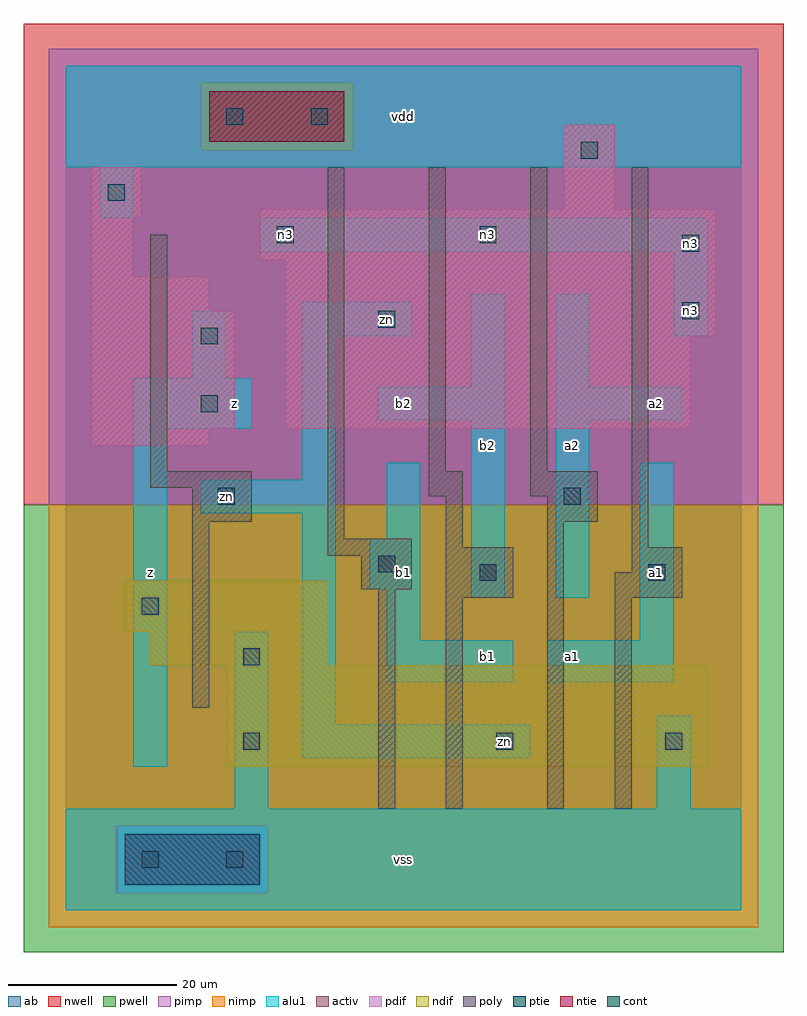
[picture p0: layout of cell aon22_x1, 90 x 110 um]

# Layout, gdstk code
import gdstk
lib = gdstk.Library(unit=1e-6, precision=1e-09)
def R(c, l, rs):  # rectangles x0, y0, x1, y1
    for r in rs: c.add(gdstk.rectangle(r[:2], r[2:], *l))
ndif = (3, 0)
pdif = (4, 0)
ntie = (5, 0)
ptie = (6, 0)
cont = (25, 0)
pwell = (41, 0)
nwell = (42, 0)
activ = (43, 0)
pimp = (44, 0)
nimp = (45, 0)
poly = (46, 0)
alu1 = (49, 0)
ab = (63, 0)

aon22_x1 = lib.new_cell('aon22_x1')
R(aon22_x1, ndif, [(19,17,76,29), (10,29,31,33), (7,33,31,39)])
R(aon22_x1, pdif, [(3,55,17,57), (3,57,20,71), (26,57,74,68), (26,68,77,77), (3,71,17,75), (3,75,8,82), (23,77,77,83), (3,82,9,88), (59,83,65,93)])
R(aon22_x1, ntie, [(17,91,33,97)])
R(aon22_x1, ptie, [(7,3,23,9)])
R(aon22_x1, cont, [(9,5,11,7), (19,5,21,7), (21,19,23,21), (51,19,53,21), (71,19,73,21), (21,29,23,31), (9,35,11,37), (49,39,51,41), (69,39,71,41), (37,40,39,42), (18,48,20,50), (59,48,61,50), (16,59,18,61), (16,67,18,69), (37,69,39,71), (73,70,75,72), (73,78,75,80), (25,79,27,81), (49,79,51,81), (5,84,7,86), (61,89,63,91), (19,93,21,95), (29,93,31,95)])
R(aon22_x1, pwell, [(-5,-5,85,48)])
R(aon22_x1, nwell, [(-5,48,85,105)])
R(aon22_x1, activ, [(7,3,23,9), (19,17,76,29), (10,29,31,33), (7,33,31,39), (3,55,17,57), (3,57,20,71), (26,57,74,68), (26,68,77,77), (3,71,17,75), (3,75,8,82), (23,77,77,83), (3,82,9,88), (59,83,65,93), (17,91,33,97)])
R(aon22_x1, pimp, [(6,2,24,10), (-2,48,82,90), (-2,90,16,98), (34,90,82,98), (-2,98,82,102)])
R(aon22_x1, nimp, [(-2,-2,82,2), (-2,2,6,10), (24,2,82,10), (-2,10,82,48), (16,90,34,98)])
R(aon22_x1, poly, [(37,12,39,38), (45,12,47,37), (57,12,59,46), (65,12,67,37), (15,24,17,46), (45,37,53,43), (65,37,73,40), (35,38,41,42), (67,40,73,43), (31,42,41,44), (45,43,47,49), (67,43,69,88), (31,44,33,88), (15,46,22,50), (57,46,63,49), (43,49,47,52), (55,49,63,52), (10,50,22,52), (10,52,12,80), (43,52,45,88), (55,52,57,88)])
R(aon22_x1, alu1, [(0,0,80,12), (20,12,24,33), (70,12,74,23), (8,17,12,57), (28,18,55,22), (28,22,32,47), (38,27,53,32), (57,27,72,32), (38,32,42,38), (68,32,72,53), (48,37,52,58), (58,37,62,58), (36,38,42,44), (38,44,42,53), (16,47,32,51), (28,51,32,68), (8,57,22,63), (37,58,52,62), (58,58,73,62), (48,62,52,73), (58,62,62,73), (15,63,19,71), (28,68,41,72), (72,68,76,78), (23,78,76,82), (4,82,8,88), (0,88,80,100)])
R(aon22_x1, ab, [(0,0,80,100)])
aon22_x1.add(gdstk.Label('zn', (19,49), layer=49, texttype=0))
aon22_x1.add(gdstk.Label('n3', (26,80), layer=49, texttype=0))
aon22_x1.add(gdstk.Label('zn', (52,20), layer=49, texttype=0))
aon22_x1.add(gdstk.Label('zn', (38,70), layer=49, texttype=0))
aon22_x1.add(gdstk.Label('n3', (50,80), layer=49, texttype=0))
aon22_x1.add(gdstk.Label('n3', (74,71), layer=49, texttype=0))
aon22_x1.add(gdstk.Label('n3', (74,79), layer=49, texttype=0))
aon22_x1.add(gdstk.Label('z', (10,40), layer=49, texttype=0))
aon22_x1.add(gdstk.Label('z', (20,60), layer=49, texttype=0))
aon22_x1.add(gdstk.Label('vss', (40,6), layer=49, texttype=0))
aon22_x1.add(gdstk.Label('b1', (40,40), layer=49, texttype=0))
aon22_x1.add(gdstk.Label('b1', (50,30), layer=49, texttype=0))
aon22_x1.add(gdstk.Label('b2', (40,60), layer=49, texttype=0))
aon22_x1.add(gdstk.Label('b2', (50,55), layer=49, texttype=0))
aon22_x1.add(gdstk.Label('vdd', (40,94), layer=49, texttype=0))
aon22_x1.add(gdstk.Label('a1', (60,30), layer=49, texttype=0))
aon22_x1.add(gdstk.Label('a1', (70,40), layer=49, texttype=0))
aon22_x1.add(gdstk.Label('a2', (60,55), layer=49, texttype=0))
aon22_x1.add(gdstk.Label('a2', (70,60), layer=49, texttype=0))

lib.write_gds('aon22_x1.gds')
